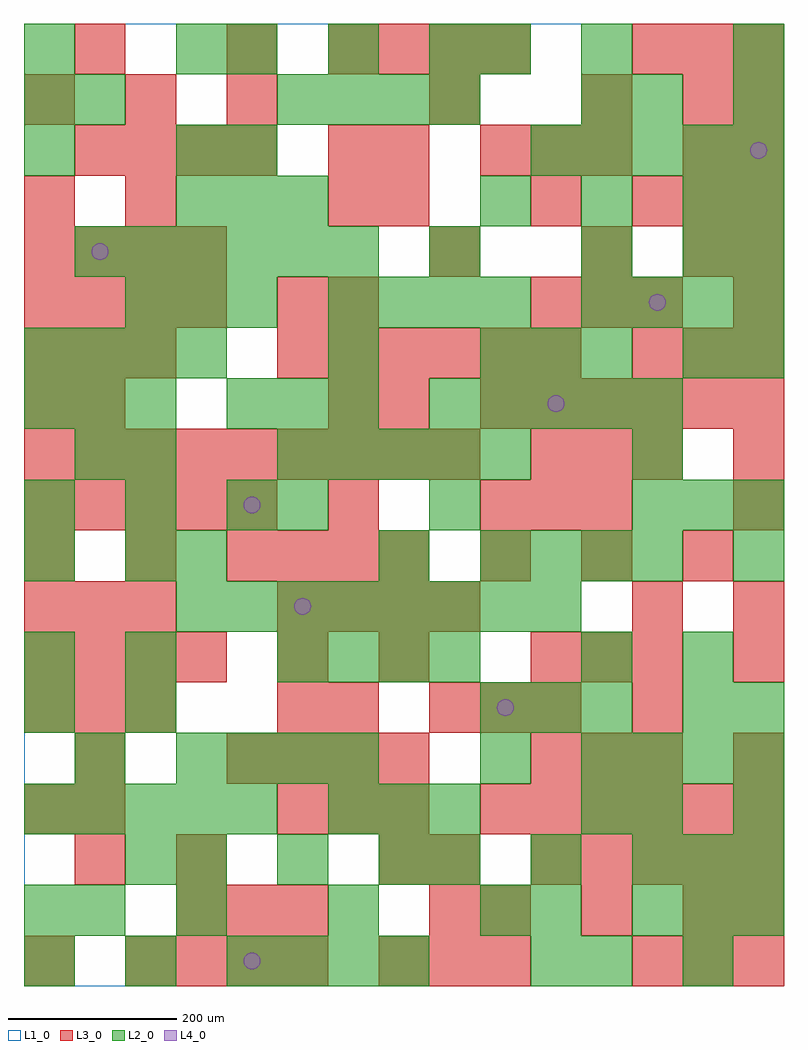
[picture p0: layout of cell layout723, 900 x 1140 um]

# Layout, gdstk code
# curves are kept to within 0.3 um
import gdstk
lib = gdstk.Library(unit=1e-6, precision=1e-09)
def R(c, l, rs):  # rectangles x0, y0, x1, y1
    for r in rs: c.add(gdstk.rectangle(r[:2], r[2:], *l))
def A(c, l, x, y, w, h, nx, ny, dx, dy):  # array of equal rectangles
    R(c, l, [(x+i*dx, y+j*dy, x+i*dx+w, y+j*dy+h) for i in range(nx) for j in range(ny)])
def P(c, l, *ps):  # polygons
    for p in ps: c.add(gdstk.Polygon(p, *l))
L1_0 = (1, 0)
L2_0 = (2, 0)
L3_0 = (3, 0)
L4_0 = (4, 0)

layout723 = lib.new_cell('layout723')
R(layout723, L1_0, [(0,0,900,1140)])
A(layout723, L2_0, 0, 0, 60, 60, 3, 2, 120, 540)
A(layout723, L2_0, 300, 0, 60, 60, 3, 1, 60, 0)
A(layout723, L2_0, 660, 0, 60, 60, 1, 3, 0, 180)
A(layout723, L2_0, 180, 60, 60, 60, 3, 1, 180, 0)
A(layout723, L2_0, 720, 60, 60, 60, 3, 2, 60, 480)
A(layout723, L2_0, 180, 120, 60, 60, 3, 1, 120, 0)
A(layout723, L2_0, 480, 120, 60, 60, 3, 1, 120, 0)
A(layout723, L2_0, 0, 180, 60, 60, 5, 1, 60, 0)
A(layout723, L2_0, 360, 180, 60, 60, 3, 1, 60, 0)
A(layout723, L2_0, 720, 180, 60, 60, 1, 3, 0, 420)
A(layout723, L2_0, 180, 240, 60, 60, 4, 1, 60, 0)
A(layout723, L2_0, 660, 240, 60, 60, 4, 2, 60, 540)
A(layout723, L2_0, 540, 300, 60, 60, 3, 2, 60, 420)
A(layout723, L2_0, 120, 360, 60, 60, 1, 3, 0, 120)
A(layout723, L2_0, 300, 360, 60, 60, 4, 2, 60, 660)
A(layout723, L2_0, 180, 420, 60, 60, 8, 1, 60, 0)
A(layout723, L2_0, 540, 480, 60, 60, 4, 1, 60, 0)
A(layout723, L2_0, 300, 600, 60, 60, 5, 1, 60, 0)
A(layout723, L2_0, 0, 660, 60, 60, 3, 1, 60, 0)
A(layout723, L2_0, 240, 660, 60, 60, 3, 1, 60, 0)
A(layout723, L2_0, 480, 660, 60, 60, 5, 1, 60, 0)
A(layout723, L2_0, 0, 720, 60, 60, 4, 1, 60, 0)
A(layout723, L2_0, 120, 780, 60, 60, 3, 1, 60, 0)
A(layout723, L2_0, 360, 780, 60, 60, 4, 1, 60, 0)
A(layout723, L2_0, 60, 840, 60, 60, 6, 1, 60, 0)
A(layout723, L2_0, 180, 900, 60, 60, 3, 1, 60, 0)
A(layout723, L2_0, 540, 900, 60, 60, 3, 1, 120, 0)
A(layout723, L2_0, 0, 960, 60, 60, 1, 3, 0, 60)
A(layout723, L2_0, 600, 960, 60, 60, 5, 1, 60, 0)
A(layout723, L2_0, 240, 1080, 60, 60, 3, 1, 120, 0)
R(layout723, L2_0, [(600,0,660,60), (780,0,840,60), (0,60,60,120), (60,60,120,120), (600,60,660,120), (120,120,180,180), (780,120,840,180), (840,120,900,180), (840,180,900,240), (60,240,120,300), (540,240,600,300), (0,300,60,360), (120,300,180,360), (780,300,840,360), (840,300,900,360), (0,360,60,420), (780,360,840,420), (0,480,60,540), (180,480,240,540), (420,480,480,540), (840,480,900,540), (300,540,360,600), (480,540,540,600), (60,600,120,660), (360,720,420,780), (780,720,840,780), (840,720,900,780), (480,840,540,900), (660,840,720,900), (780,840,840,900), (840,840,900,900), (840,900,900,960), (180,960,240,1020), (240,960,300,1020), (60,1020,120,1080), (660,1020,720,1080), (840,1020,900,1080), (180,1080,240,1140), (540,1080,600,1140), (660,1080,720,1140), (840,1080,900,1140)])
A(layout723, L3_0, 120, 0, 60, 60, 4, 1, 60, 0)
A(layout723, L3_0, 420, 0, 60, 60, 3, 1, 60, 0)
A(layout723, L3_0, 720, 0, 60, 60, 3, 2, 60, 720)
A(layout723, L3_0, 180, 60, 60, 60, 3, 1, 60, 0)
A(layout723, L3_0, 540, 60, 60, 60, 3, 2, 120, 420)
A(layout723, L3_0, 60, 120, 60, 60, 1, 3, 0, 60)
A(layout723, L3_0, 600, 120, 60, 60, 5, 1, 60, 0)
A(layout723, L3_0, 300, 180, 60, 60, 3, 2, 60, 300)
A(layout723, L3_0, 540, 180, 60, 60, 6, 2, 60, 480)
A(layout723, L3_0, 240, 240, 60, 60, 4, 1, 60, 0)
A(layout723, L3_0, 600, 240, 60, 60, 3, 2, 60, 120)
A(layout723, L3_0, 0, 300, 60, 60, 3, 2, 60, 120)
A(layout723, L3_0, 480, 300, 60, 60, 3, 1, 60, 0)
A(layout723, L3_0, 0, 360, 60, 60, 4, 2, 60, 420)
A(layout723, L3_0, 300, 420, 60, 60, 4, 1, 60, 0)
A(layout723, L3_0, 0, 480, 60, 60, 3, 2, 120, 540)
A(layout723, L3_0, 0, 540, 60, 60, 5, 1, 60, 0)
A(layout723, L3_0, 360, 540, 60, 60, 1, 4, 0, 120)
A(layout723, L3_0, 540, 540, 60, 60, 3, 2, 60, 420)
A(layout723, L3_0, 0, 600, 60, 60, 9, 1, 60, 0)
A(layout723, L3_0, 600, 600, 60, 60, 3, 2, 60, 180)
A(layout723, L3_0, 0, 720, 60, 60, 3, 1, 60, 0)
A(layout723, L3_0, 300, 720, 60, 60, 6, 1, 60, 0)
A(layout723, L3_0, 0, 840, 60, 60, 4, 1, 60, 0)
A(layout723, L3_0, 720, 900, 60, 60, 3, 2, 60, 180)
A(layout723, L3_0, 60, 960, 60, 60, 4, 1, 60, 0)
A(layout723, L3_0, 360, 1080, 60, 60, 4, 1, 60, 0)
R(layout723, L3_0, [(0,0,60,60), (480,60,540,120), (840,60,900,120), (180,120,240,180), (420,120,480,180), (480,120,540,180), (0,180,60,240), (840,240,900,300), (300,300,360,360), (360,300,420,360), (720,300,780,360), (300,360,360,420), (420,360,480,420), (840,360,900,420), (720,420,780,480), (840,420,900,480), (840,540,900,600), (840,600,900,660), (0,660,60,720), (60,660,120,720), (420,660,480,720), (300,780,360,840), (840,780,900,840), (480,840,540,900), (660,840,720,900), (780,840,840,900), (840,840,900,900), (0,900,60,960), (120,900,180,960), (420,900,480,960), (600,900,660,960), (360,960,420,1020), (420,960,480,1020), (780,960,840,1020), (840,960,900,1020), (480,1020,540,1080), (660,1020,720,1080), (780,1020,840,1080), (840,1020,900,1080), (60,1080,120,1140), (240,1080,300,1140)])
P(layout723, L4_0, [(100,870),(99.239,873.827),(97.071,877.071),(93.827,879.239),(90,880),(86.173,879.239),(82.929,877.071),(80.761,873.827),(80,870),(80.761,866.173),(82.929,862.929),(86.173,860.761),(90,860),(93.827,860.761),(97.071,862.929),(99.239,866.173)],
  [(280,30),(279.239,33.827),(277.071,37.071),(273.827,39.239),(270,40),(266.173,39.239),(262.929,37.071),(260.761,33.827),(260,30),(260.761,26.173),(262.929,22.929),(266.173,20.761),(270,20),(273.827,20.761),(277.071,22.929),(279.239,26.173)],
  [(280,570),(279.239,573.827),(277.071,577.071),(273.827,579.239),(270,580),(266.173,579.239),(262.929,577.071),(260.761,573.827),(260,570),(260.761,566.173),(262.929,562.929),(266.173,560.761),(270,560),(273.827,560.761),(277.071,562.929),(279.239,566.173)],
  [(340,450),(339.239,453.827),(337.071,457.071),(333.827,459.239),(330,460),(326.173,459.239),(322.929,457.071),(320.761,453.827),(320,450),(320.761,446.173),(322.929,442.929),(326.173,440.761),(330,440),(333.827,440.761),(337.071,442.929),(339.239,446.173)],
  [(580,330),(579.239,333.827),(577.071,337.071),(573.827,339.239),(570,340),(566.173,339.239),(562.929,337.071),(560.761,333.827),(560,330),(560.761,326.173),(562.929,322.929),(566.173,320.761),(570,320),(573.827,320.761),(577.071,322.929),(579.239,326.173)],
  [(640,690),(639.239,693.827),(637.071,697.071),(633.827,699.239),(630,700),(626.173,699.239),(622.929,697.071),(620.761,693.827),(620,690),(620.761,686.173),(622.929,682.929),(626.173,680.761),(630,680),(633.827,680.761),(637.071,682.929),(639.239,686.173)],
  [(760,810),(759.239,813.827),(757.071,817.071),(753.827,819.239),(750,820),(746.173,819.239),(742.929,817.071),(740.761,813.827),(740,810),(740.761,806.173),(742.929,802.929),(746.173,800.761),(750,800),(753.827,800.761),(757.071,802.929),(759.239,806.173)],
  [(880,990),(879.239,993.827),(877.071,997.071),(873.827,999.239),(870,1000),(866.173,999.239),(862.929,997.071),(860.761,993.827),(860,990),(860.761,986.173),(862.929,982.929),(866.173,980.761),(870,980),(873.827,980.761),(877.071,982.929),(879.239,986.173)])

lib.write_gds('layout723.gds')
